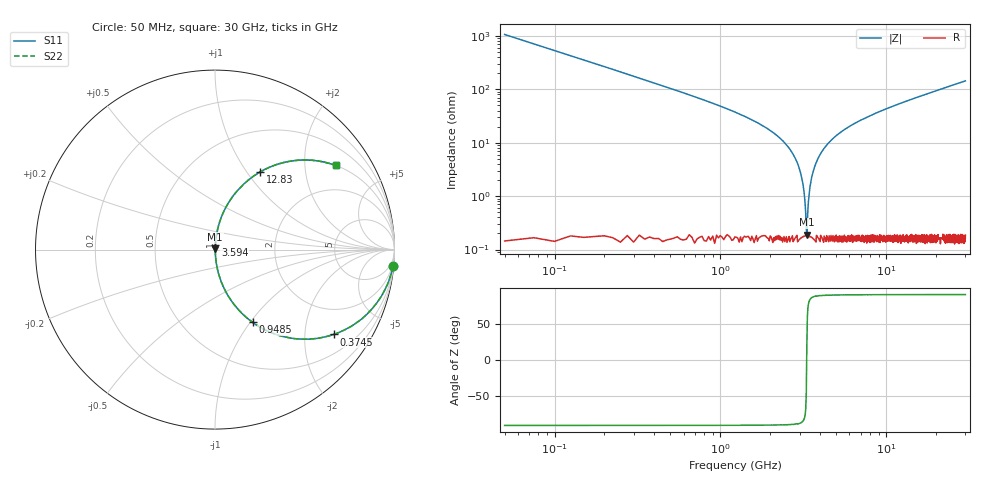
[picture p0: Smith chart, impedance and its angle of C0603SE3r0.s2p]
!	AVX Thin Film Operation 	Date: April 2014
!	Description: Accu-P® Series, Thin Film  SMD RF Capacitor
!	Part Number: 06031J3R0QBSTR
# MHZ S MA R 50
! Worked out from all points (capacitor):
!   1201 points, 50 MHz to 30 GHz, reference 50 ohm
!   read as one part in series: C = 3 pF near 199.8 MHz
!   lowest |Z| = 190 mohm at 3.32 GHz (marker M1)
!   series resonance near 3.314 GHz, so ESL is about 770 pH
!   S11 on the Smith chart (normalised r, x): 50 MHz: 1, -21; 374.5 MHz: 1.00, -2.80; 948.5 MHz: 1.00, -1.03; 3.594 GHz: 1.00, +0.05; 12.83 GHz: 1.00, +1.16; 30 GHz: 1.01, +2.86
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50  0.996 -5.4  0.094 84.6  0.094 84.6  0.996 -5.4
249.667  0.904 -25.3  0.428 64.6  0.428 64.6  0.904 -25.3
374.458  0.813 -35.5  0.581 54.4  0.581 54.4  0.813 -35.5
948.5  0.456 -62.7  0.888 27.1  0.888 27.1  0.456 -62.7
1572.458  0.253 -75.0  0.966 14.6  0.966 14.6  0.253 -75.0
2670.625  0.069 -84.7  0.996 4.0  0.996 4.0  0.069 -84.7
2995.083  0.032 -85.3  0.998 1.9  0.998 1.9  0.032 -85.3
3094.917  0.022 -84.5  0.998 1.3  0.998 1.3  0.022 -84.5
3219.708  0.009327 -79.5  0.998 0.5  0.998 0.5  0.009327 -79.5
3319.542  0.001708 19.7  0.998 -0.0  0.998 -0.0  0.001708 19.7
3419.375  0.01 80.3  0.998 -0.6  0.998 -0.6  0.01 80.3
3594.083  0.026 85.0  0.998 -1.5  0.998 -1.5  0.026 85.0
3793.75  0.043 85.4  0.997 -2.5  0.997 -2.5  0.043 85.4
4093.25  0.068 84.8  0.996 -3.9  0.996 -3.9  0.068 84.8
5041.667  0.137 81.5  0.989 -7.9  0.989 -7.9  0.137 81.5
6988.417  0.253 75.0  0.966 -14.6  0.966 -14.6  0.253 75.0
10058.29  0.397 66.4  0.916 -23.4  0.916 -23.4  0.397 66.4
12828.67  0.5 59.8  0.865 -30.0  0.865 -30.0  0.5 59.8
15025  0.568 55.3  0.822 -34.6  0.822 -34.6  0.568 55.3
20016.67  0.685 46.7  0.728 -43.2  0.728 -43.2  0.685 46.7
25033.29  0.765 40.0  0.643 -49.9  0.643 -49.9  0.765 40.0
30000  0.819 34.9  0.572 -55.0  0.572 -55.0  0.819 34.9
